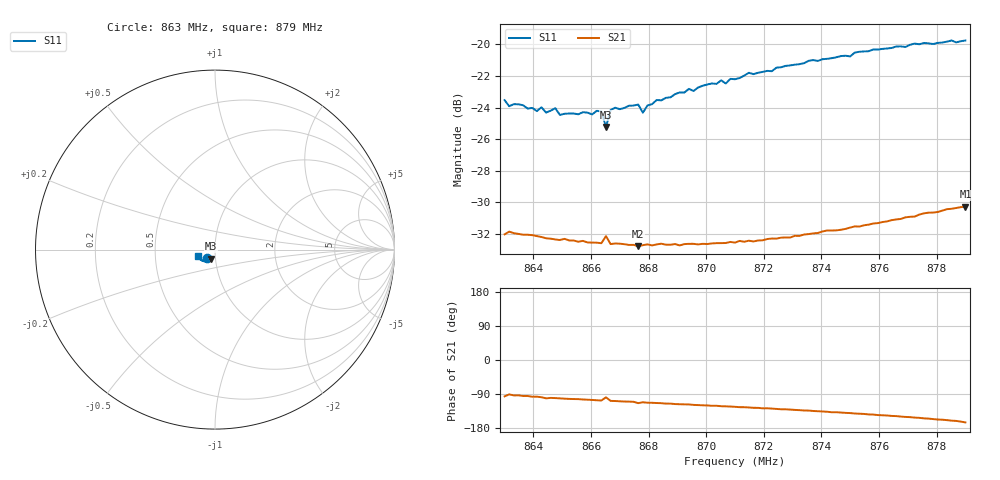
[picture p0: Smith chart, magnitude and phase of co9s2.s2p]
# HZ S RI R 50
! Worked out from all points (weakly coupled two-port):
!   101 points, 863 MHz to 879 MHz, reference 50 ohm
!   highest |S21| = -30.27 dB at 879 MHz (marker M1); lowest = -32.8 dB at 867.64 MHz (marker M2)
!   lowest |S11| = -25.2 dB at 866.52 MHz (marker M3), VSWR 1.12, Z = 47.6 - j4.8 ohm
!   |S11| at or under -10 dB: start of sweep to end of sweep
!   S12 and S22 are empty: the file has one direction only
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8.63e8  -0.0464 -0.0478  -0.00258 -0.0249  0 0  0 0
8.6316e8  -0.0424 -0.0475  -0.000326 -0.0256  0 0  0 0
8.6348e8  -0.0445 -0.0469  -0.00143 -0.0251  0 0  0 0
8.6412e8  -0.0396 -0.047  -0.00292 -0.0246  0 0  0 0
8.6428e8  -0.0414 -0.0478  -0.00354 -0.0243  0 0  0 0
8.6476e8  -0.0402 -0.0483  -0.0044 -0.0237  0 0  0 0
8.6492e8  -0.0373 -0.0468  -0.00468 -0.0236  0 0  0 0
8.6572e8  -0.0361 -0.0492  -0.00586 -0.0232  0 0  0 0
8.6636e8  -0.0353 -0.0501  -0.00681 -0.0225  0 0  0 0
8.6652e8  -0.0218 -0.0503  -0.00368 -0.0245  0 0  0 0
8.6668e8  -0.0334 -0.0522  -0.00717 -0.0222  0 0  0 0
8.6764e8  -0.034 -0.0548  -0.0093 -0.021  0 0  0 0
8.678e8  -0.0343 -0.0502  -0.0085 -0.0215  0 0  0 0
8.6796e8  -0.0328 -0.055  -0.00902 -0.0215  0 0  0 0
8.6844e8  -0.0341 -0.0571  -0.0095 -0.0214  0 0  0 0
8.694e8  -0.0385 -0.0612  -0.0107 -0.0208  0 0  0 0
8.6956e8  -0.0377 -0.0604  -0.0111 -0.0206  0 0  0 0
8.71e8  -0.0441 -0.0638  -0.013 -0.0197  0 0  0 0
8.7148e8  -0.0479 -0.0657  -0.0138 -0.0195  0 0  0 0
8.7372e8  -0.0604 -0.0656  -0.0177 -0.018  0 0  0 0
8.7644e8  -0.0798 -0.0558  -0.0235 -0.0149  0 0  0 0
8.79e8  -0.0958 -0.0375  -0.0296 -0.0081  0 0  0 0
